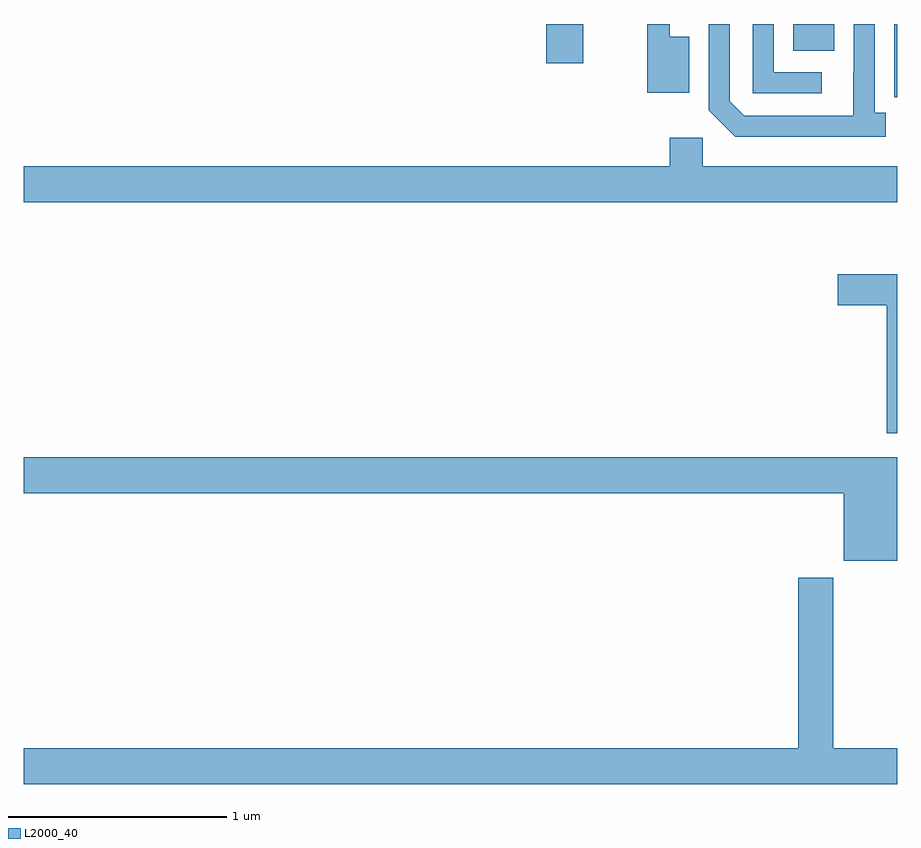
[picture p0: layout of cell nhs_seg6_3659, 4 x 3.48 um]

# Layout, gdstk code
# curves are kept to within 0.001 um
import gdstk
lib = gdstk.Library(unit=1e-6, precision=1e-09)
def R(c, l, rs):  # rectangles x0, y0, x1, y1
    for r in rs: c.add(gdstk.rectangle(r[:2], r[2:], *l))
def P(c, l, *ps):  # polygons
    for p in ps: c.add(gdstk.Polygon(p, *l))
L2000_40 = (2000, 40)

nhs_seg6_3659 = lib.new_cell('nhs_seg6_3659')
R(nhs_seg6_3659, L2000_40, [(327.392,933.321,327.562,933.5), (328.523,933.377,328.711,933.5)])
P(nhs_seg6_3659, L2000_40, [(328.048,933.442),(327.959,933.442),(327.959,933.5),(327.856,933.5),(327.856,933.185),(328.048,933.185)],
  [(328.948,933.094),(328.896,933.094),(328.896,933.5),(328.8,933.5),(328.799,933.081),(328.299,933.081),(328.233,933.147),(328.233,933.5),(328.137,933.5),(328.137,933.105),(328.258,932.984),(328.948,932.984)],
  [(328.654,933.279),(328.434,933.279),(328.434,933.5),(328.338,933.5),(328.338,933.183),(328.654,933.183)],
  [(329,933.5),(328.986,933.5),(328.986,933.274),(328.987,933.274),(328.987,933.165),(329,933.165)],
  [(329,932.848),(328.11,932.848),(328.11,932.98),(327.959,932.98),(327.959,932.848),(325,932.848),(325,932.684),(329,932.684)],
  [(329,932.355),(328.728,932.355),(328.728,932.213),(328.951,932.213),(328.951,931.626),(329,931.626)],
  [(329,931.516),(325,931.516),(325,931.352),(328.754,931.352),(328.754,931.043),(329,931.043)],
  [(329,930.184),(328.707,930.184),(328.707,930.964),(328.547,930.964),(328.547,930.184),(325,930.184),(325,930.02),(329,930.02)])

lib.write_gds('nhs_seg6_3659.gds')
